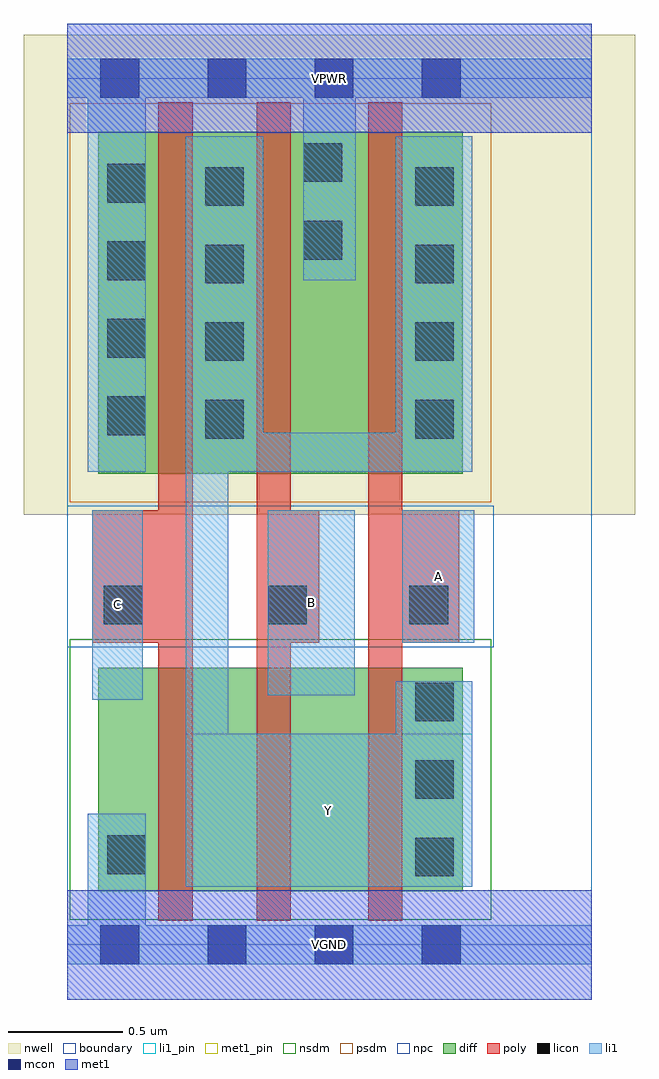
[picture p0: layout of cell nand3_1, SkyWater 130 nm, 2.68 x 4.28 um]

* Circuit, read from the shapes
.subckt nand3_1 A B C VGND VPWR Y
XM1 n1 C VGND VSUBS sky130_fd_pr__nfet_01v8 w=0.98 l=0.15
XM2 n2 B n1 VSUBS sky130_fd_pr__nfet_01v8 w=0.98 l=0.15
XM3 Y A n2 VSUBS sky130_fd_pr__nfet_01v8 w=0.98 l=0.15
XM4 Y C VPWR n3 sky130_fd_pr__pfet_01v8 w=1.5 l=0.15
XM5 VPWR B Y n3 sky130_fd_pr__pfet_01v8 w=1.5 l=0.15
XM6 Y A VPWR n3 sky130_fd_pr__pfet_01v8 w=1.5 l=0.15
.ends

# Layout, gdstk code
import gdstk
lib = gdstk.Library(unit=1e-6, precision=1e-09)
def R(c, l, rs):  # rectangles x0, y0, x1, y1
    for r in rs: c.add(gdstk.rectangle(r[:2], r[2:], *l))
def A(c, l, x, y, w, h, nx, ny, dx, dy):  # array of equal rectangles
    R(c, l, [(x+i*dx, y+j*dy, x+i*dx+w, y+j*dy+h) for i in range(nx) for j in range(ny)])
nwell = (64, 20)
diff = (65, 20)
poly = (66, 20)
licon = (66, 44)
li1_pin = (67, 16)
li1 = (67, 20)
mcon = (67, 44)
met1_pin = (68, 16)
met1 = (68, 20)
nsdm = (93, 44)
psdm = (94, 20)
npc = (95, 20)
boundary = (235, 4)

nand3_1 = lib.new_cell('nand3_1')
R(nand3_1, nwell, [(-0.19,1.885,2.49,3.99), (0,1.885,2.3,3.99)])
R(nand3_1, diff, [(0.135,0.235,1.735,1.215), (0.135,2.065,1.735,3.565)])
R(nand3_1, poly, [(0.4,0.105,0.55,3.695), (0.83,0.105,0.98,3.695), (1.32,0.105,1.47,3.695), (0.11,1.325,0.55,1.905), (0.83,1.325,1.105,1.905), (1.32,1.325,1.72,1.905)])
A(nand3_1, licon, 1.525, 0.3, 0.17, 0.17, 1, 3, 0, 0.34)
A(nand3_1, licon, 0.605, 2.22, 0.17, 0.17, 1, 4, 0, 0.34)
A(nand3_1, licon, 1.525, 2.22, 0.17, 0.17, 1, 4, 0, 0.34)
A(nand3_1, licon, 0.175, 2.235, 0.17, 0.17, 1, 4, 0, 0.34)
R(nand3_1, licon, [(0.175,0.31,0.345,0.48), (0.16,1.405,0.33,1.575), (0.88,1.405,1.05,1.575), (1.5,1.405,1.67,1.575), (1.035,3.005,1.205,3.175), (1.035,3.345,1.205,3.515)])
R(nand3_1, li1_pin, [(0.52,0.255,1.775,0.925), (0.11,1.075,0.33,1.905), (0.88,1.095,1.26,1.905), (1.47,1.325,1.785,1.905)])
R(nand3_1, li1, [(0,-0.085,2.3,0.085), (0.09,-0.085,0.345,0.575), (0.52,0.255,1.775,0.925), (0.52,0.255,0.705,3.545), (1.44,0.255,1.775,1.155), (0.11,1.075,0.33,1.905), (0.88,1.095,1.26,1.905), (1.47,1.325,1.785,1.905), (0.09,2.075,0.345,3.885), (0.52,2.075,0.86,3.545), (0.52,2.075,1.775,2.245), (1.44,2.075,1.775,3.545), (1.035,2.915,1.265,3.885), (0,3.715,2.3,3.885)])
A(nand3_1, mcon, 0.145, -0.085, 0.17, 0.17, 4, 2, 0.47, 3.8)
R(nand3_1, met1_pin, [(0,-0.24,2.3,0.24), (0,3.56,2.3,4.04)])
R(nand3_1, met1, [(0,-0.24,2.3,0.24), (0,3.56,2.3,4.04)])
R(nand3_1, nsdm, [(0.01,0.11,1.86,1.34)])
R(nand3_1, psdm, [(0.01,1.94,1.86,3.69)])
R(nand3_1, npc, [(0,1.305,1.87,1.925)])
R(nand3_1, boundary, [(0,0,2.3,3.8)])
nand3_1.add(gdstk.Label('A', (1.627,1.615), layer=67, texttype=5))
nand3_1.add(gdstk.Label('B', (1.07,1.5), layer=67, texttype=5))
nand3_1.add(gdstk.Label('C', (0.22,1.49), layer=67, texttype=5))
nand3_1.add(gdstk.Label('Y', (1.147,0.59), layer=67, texttype=5))
nand3_1.add(gdstk.Label('VPWR', (1.15,3.8), layer=68, texttype=5))
nand3_1.add(gdstk.Label('VGND', (1.15,0), layer=68, texttype=5))
nand3_1.add(gdstk.Label('A', (1.627,1.615), layer=67, texttype=16))
nand3_1.add(gdstk.Label('B', (1.07,1.5), layer=67, texttype=16))
nand3_1.add(gdstk.Label('C', (0.22,1.49), layer=67, texttype=16))
nand3_1.add(gdstk.Label('Y', (1.147,0.59), layer=67, texttype=16))
nand3_1.add(gdstk.Label('VPWR', (1.15,3.8), layer=68, texttype=16))
nand3_1.add(gdstk.Label('VGND', (1.15,0), layer=68, texttype=16))

lib.write_gds('nand3_1.gds')
